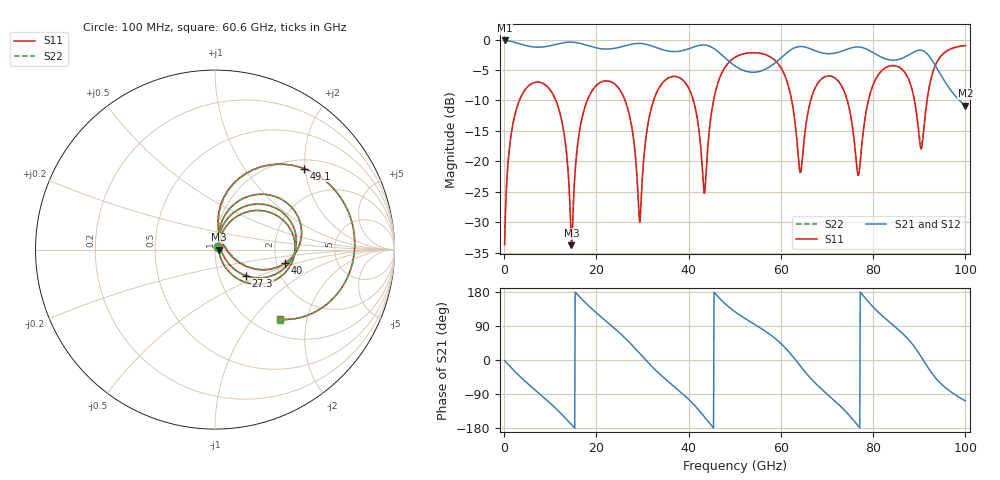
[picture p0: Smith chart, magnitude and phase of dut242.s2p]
! Touchstone file exported from HFSS 2026.1.0
!  File:  C:/ffzhzh/LocalFiles/Ansys_Project_Files/temp_train_TSV_RDL_242_1783667332_33328.aedt
!  Generated:  03:21:11 PM Jul 10, 2026
!  Design:  TSV_RDL
!  Project:  temp_train_TSV_RDL_242_1783667332_33328
! Variables:
!  h_bsmrdl = 4.6um
!  h_ox = 20um
!  h_rdl = 5um
!  h_sub = 83.96um
!  h_tmrdl = 4.41um
!  h_tsv = 83.96um
!  h_via = 3um
!  l_bsmrdl = 279.67um
!  l_sub = 3751.37um
!  l_tmrdl = 603.7um
!  m_sub = 200um
!  pitch = 40.27um
!  r_tsv = 10.69um
!  s_tmrdl = 10um
!  w_bsmrdl = 15.31um
!  w_sub = 500um
!  w_tmrdl = 17.21um
!  x_tsv_center1 = 612.305um
!  x_tsv_center2 = 907.285um
!  x_tsv_center3 = 1528.195um
!  x_tsv_center4 = 1823.175um
!  x_tsv_center5 = 2444.085um
!  x_tsv_center6 = 2739.065um
# GHz S MA R 50.000000
! Terminal data exported
! Port[1] = TM_RDL1_1_T1
! Port[2] = TM_RDL5_1_T1
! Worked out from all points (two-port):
!   1000 points, 100 MHz to 100 GHz, reference 50 ohm
!   highest |S21| = -0.15 dB at 100 MHz (marker M1); lowest = -10.8 dB at 100 GHz (marker M2)
!   |S21| within 3 dB of the highest: start of sweep to 48.1 GHz; 59.82 GHz to 82.6 GHz (22.78 GHz wide, 32 % of centre) (the widest 2 of 3)
!   lowest |S11| = -33.8 dB at 14.6 GHz (marker M3), VSWR 1.04, Z = 52.1 - j0.0521 ohm
!   |S11| at or under -10 dB: 11.2 GHz to 18.02 GHz (6.82 GHz wide, 46.7 % of centre); 26.22 GHz to 32.4 GHz (6.185 GHz wide, 21.1 % of centre); 74.39 GHz to 78.98 GHz (4.583 GHz wide, 5.98 % of centre) (the widest 3 of 7)
!   |S22| runs from -34.0 to -1.0 dB; largest |S21 - S12| = 2.3e-14
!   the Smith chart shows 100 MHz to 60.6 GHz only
!   S11 on the Smith chart (normalised r, x): 100 MHz: 1.03, +0.02; 27.3 GHz: 1.35, -0.41; 40 GHz: 2.24, -0.40; 49.1 GHz: 1.20, +1.98; 60.6 GHz: 1.29, -1.40
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0.1  0.02066 34.9  0.9833 -1.4  0.9833 -1.4  0.02066 34.9
! Gamma 0 0 0 0
! Port Impedance 50 0 50 0
2.2  0.2297 55.6  0.9504 -28.7  0.9504 -28.7  0.2297 55.6
7  0.4467 5.3  0.8662 -82.2  0.8662 -82.2  0.4467 5.3
12.1  0.2487 -47.1  0.93 -138.6  0.93 -138.6  0.2487 -47.1
14.6  0.02032 -1.4  0.9524 -170.6  0.9524 -170.6  0.02006 -1.7
16.8  0.2191 64.5  0.9232 161.2  0.9232 161.2  0.219 64.7
27.3  0.2267 -40.1  0.9104 44.6  0.9104 44.6  0.2266 -39.8
29.4  0.03157 16.7  0.9292 17.1  0.9292 17.1  0.03221 16.9
33.4  0.3892 52.2  0.8487 -33.4  0.8487 -33.4  0.3893 52.2
40  0.3995 -10.9  0.8394 -103.8  0.8394 -103.8  0.3997 -10.6
43.4  0.05435 26.6  0.9029 -149.8  0.9029 -149.8  0.05769 26.8
49.1  0.6712 42.3  0.6463 136.1  0.6463 136.1  0.6714 42.0
50.1  0.7158 33.9  0.6057 126.8  0.6057 126.8  0.716 33.7
60.6  0.5327 -46.8  0.7393 36.4  0.7393 36.4  0.5325 -47.0
64.2  0.08114 -17.6  0.8773 -15.7  0.8773 -15.7  0.07871 -17.7
66.7  0.3404 28.5  0.8306 -51.5  0.8306 -51.5  0.3399 29.0
72.8  0.4376 -26.6  0.7937 -120.3  0.7937 -120.3  0.4376 -26.3
76.5  0.08677 -20.9  0.8698 -170.1  0.8698 -170.1  0.08744 -20.3
83.4  0.604 9.4  0.6829 101.5  0.6829 101.5  0.6043 9.8
90.6  0.1326 19.4  0.8144 4.9  0.8144 4.9  0.1448 18.1
93.6  0.6272 30.5  0.6006 -48.2  0.6006 -48.2  0.6294 29.6
100  0.8927 -21.0  0.287 -108.0  0.287 -108.0  0.8932 -21.2
